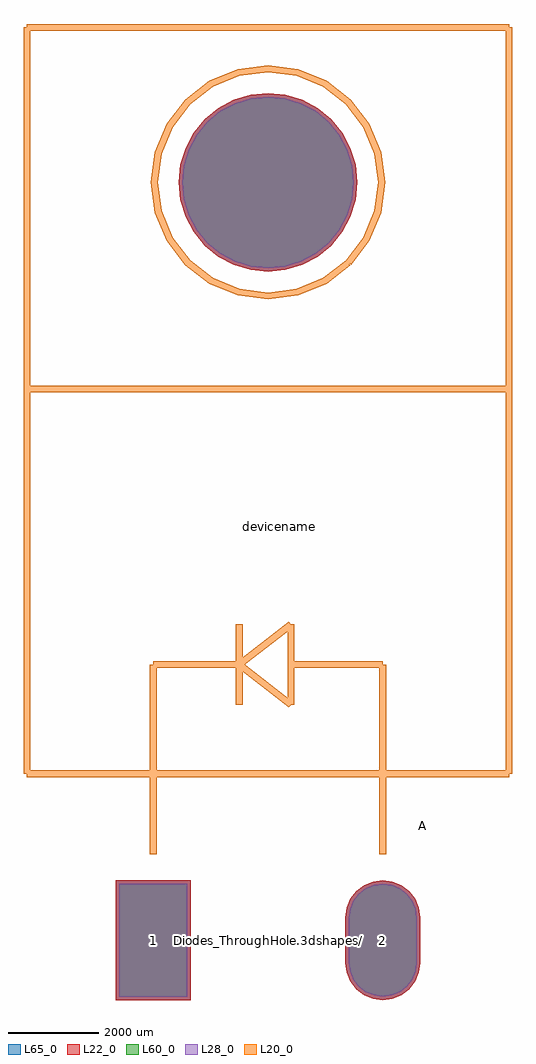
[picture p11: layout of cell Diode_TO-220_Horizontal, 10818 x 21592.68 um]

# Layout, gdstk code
import gdstk
lib = gdstk.Library(unit=1e-6, precision=1e-09)
def R(c, l, rs):  # rectangles x0, y0, x1, y1
    for r in rs: c.add(gdstk.rectangle(r[:2], r[2:], *l))
def P(c, l, *ps):  # polygons
    for p in ps: c.add(gdstk.Polygon(p, *l))
L20_0 = (20, 0)
L22_0 = (22, 0)
L28_0 = (28, 0)
L60_0 = (60, 0)
L65_0 = (65, 0)

diode_to_220_horizontal = lib.new_cell('Diode_TO-220_Horizontal')
R(diode_to_220_horizontal, L22_0, [(-828.11,-1324.68,823.03,1324.68)])
P(diode_to_220_horizontal, L22_0, [(4512.38,16764),(4474.432,17149.288),(4362.048,17519.769),(4179.546,17861.207),(3933.939,18160.479),(3634.667,18406.086),(3293.229,18588.588),(2922.748,18700.972),(2537.46,18738.92),(2152.172,18700.972),(1781.691,18588.588),(1440.253,18406.086),(1140.981,18160.479),(895.374,17861.207),(712.872,17519.769),(600.488,17149.288),(562.54,16764),(600.488,16378.712),(712.872,16008.231),(895.374,15666.793),(1140.981,15367.521),(1440.253,15121.914),(1781.691,14939.412),(2152.172,14827.028),(2537.46,14789.08),(2922.748,14827.028),(3293.229,14939.412),(3634.667,15121.914),(3933.939,15367.521),(4179.546,15666.793),(4362.048,16008.231),(4474.432,16378.712)],
  [(5077.46,-1324.68),(5291.133,-1296.549),(5490.245,-1214.075),(5661.226,-1082.876),(5792.425,-911.895),(5874.899,-712.783),(5903.03,-499.11),(5903.03,499.11),(5874.899,712.783),(5792.425,911.895),(5661.226,1082.876),(5490.245,1214.075),(5291.133,1296.549),(5077.46,1324.68),(4863.787,1296.549),(4664.675,1214.075),(4493.694,1082.876),(4362.495,911.895),(4280.021,712.783),(4251.89,499.11),(4251.89,-499.11),(4280.021,-712.783),(4362.495,-911.895),(4493.694,-1082.876),(4664.675,-1214.075),(4863.787,-1296.549)])
R(diode_to_220_horizontal, L28_0, [(-753.11,-1249.68,748.03,1249.68)])
P(diode_to_220_horizontal, L28_0, [(4437.38,16764),(4400.874,17134.656),(4292.757,17491.068),(4117.186,17819.539),(3880.906,18107.446),(3592.999,18343.726),(3264.528,18519.297),(2908.116,18627.414),(2537.46,18663.92),(2166.804,18627.414),(1810.392,18519.297),(1481.921,18343.726),(1194.014,18107.446),(957.734,17819.539),(782.163,17491.068),(674.046,17134.656),(637.54,16764),(674.046,16393.344),(782.163,16036.932),(957.734,15708.461),(1194.014,15420.554),(1481.921,15184.274),(1810.392,15008.703),(2166.804,14900.586),(2537.46,14864.08),(2908.116,14900.586),(3264.528,15008.703),(3592.999,15184.274),(3880.906,15420.554),(4117.186,15708.461),(4292.757,16036.932),(4400.874,16393.344)],
  [(5077.46,-1249.68),(5271.722,-1224.105),(5452.745,-1149.123),(5608.193,-1029.843),(5727.473,-874.395),(5802.455,-693.372),(5828.03,-499.11),(5828.03,499.11),(5802.455,693.372),(5727.473,874.395),(5608.193,1029.843),(5452.745,1149.123),(5271.722,1224.105),(5077.46,1249.68),(4883.198,1224.105),(4702.175,1149.123),(4546.727,1029.843),(4427.447,874.395),(4352.465,693.372),(4326.89,499.11),(4326.89,-499.11),(4352.465,-693.372),(4427.447,-874.395),(4546.727,-1029.843),(4702.175,-1149.123),(4883.198,-1224.105)])
R(diode_to_220_horizontal, L60_0, [(-753.11,-1249.68,748.03,1249.68)])
P(diode_to_220_horizontal, L60_0, [(4437.38,16764),(4400.874,17134.656),(4292.757,17491.068),(4117.186,17819.539),(3880.906,18107.446),(3592.999,18343.726),(3264.528,18519.297),(2908.116,18627.414),(2537.46,18663.92),(2166.804,18627.414),(1810.392,18519.297),(1481.921,18343.726),(1194.014,18107.446),(957.734,17819.539),(782.163,17491.068),(674.046,17134.656),(637.54,16764),(674.046,16393.344),(782.163,16036.932),(957.734,15708.461),(1194.014,15420.554),(1481.921,15184.274),(1810.392,15008.703),(2166.804,14900.586),(2537.46,14864.08),(2908.116,14900.586),(3264.528,15008.703),(3592.999,15184.274),(3880.906,15420.554),(4117.186,15708.461),(4292.757,16036.932),(4400.874,16393.344)],
  [(5077.46,-1249.68),(5271.722,-1224.105),(5452.745,-1149.123),(5608.193,-1029.843),(5727.473,-874.395),(5802.455,-693.372),(5828.03,-499.11),(5828.03,499.11),(5802.455,693.372),(5727.473,874.395),(5608.193,1029.843),(5452.745,1149.123),(5271.722,1224.105),(5077.46,1249.68),(4883.198,1224.105),(4702.175,1149.123),(4546.727,1029.843),(4427.447,874.395),(4352.465,693.372),(4326.89,499.11),(4326.89,-499.11),(4352.465,-693.372),(4427.447,-874.395),(4546.727,-1029.843),(4702.175,-1149.123),(4883.198,-1224.105)])
R(diode_to_220_horizontal, L65_0, [(-828.11,-1324.68,823.03,1324.68)])
P(diode_to_220_horizontal, L65_0, [(4512.38,16764),(4474.432,17149.288),(4362.048,17519.769),(4179.546,17861.207),(3933.939,18160.479),(3634.667,18406.086),(3293.229,18588.588),(2922.748,18700.972),(2537.46,18738.92),(2152.172,18700.972),(1781.691,18588.588),(1440.253,18406.086),(1140.981,18160.479),(895.374,17861.207),(712.872,17519.769),(600.488,17149.288),(562.54,16764),(600.488,16378.712),(712.872,16008.231),(895.374,15666.793),(1140.981,15367.521),(1440.253,15121.914),(1781.691,14939.412),(2152.172,14827.028),(2537.46,14789.08),(2922.748,14827.028),(3293.229,14939.412),(3634.667,15121.914),(3933.939,15367.521),(4179.546,15666.793),(4362.048,16008.231),(4474.432,16378.712)],
  [(5077.46,-1324.68),(5291.133,-1296.549),(5490.245,-1214.075),(5661.226,-1082.876),(5792.425,-911.895),(5874.899,-712.783),(5903.03,-499.11),(5903.03,499.11),(5874.899,712.783),(5792.425,911.895),(5661.226,1082.876),(5490.245,1214.075),(5291.133,1296.549),(5077.46,1324.68),(4863.787,1296.549),(4664.675,1214.075),(4493.694,1082.876),(4362.495,911.895),(4280.021,712.783),(4251.89,499.11),(4251.89,-499.11),(4280.021,-712.783),(4362.495,-911.895),(4493.694,-1082.876),(4664.675,-1214.075),(4863.787,-1296.549)])
diode_to_220_horizontal.add(gdstk.FlexPath([(2537.46,3683),(7871.46,3683)], 149.998, ends="flush", simple_path=True, layer=20, datatype=0))  # L20_0
diode_to_220_horizontal.add(gdstk.FlexPath([(2537.46,3683),(-2796.54,3683)], 149.998, ends="flush", simple_path=True, layer=20, datatype=0))  # L20_0
diode_to_220_horizontal.add(gdstk.FlexPath([(-2796.54,12192),(-2796.54,3683)], 149.998, ends="flush", simple_path=True, layer=20, datatype=0))  # L20_0
diode_to_220_horizontal.add(gdstk.FlexPath([(7871.46,12192),(-2796.54,12192)], 149.998, ends="flush", simple_path=True, layer=20, datatype=0))  # L20_0
diode_to_220_horizontal.add(gdstk.FlexPath([(7871.46,3683),(7871.46,12192)], 149.998, ends="flush", simple_path=True, layer=20, datatype=0))  # L20_0
diode_to_220_horizontal.add(gdstk.FlexPath([(-2796.54,20193),(-2796.54,12192)], 149.998, ends="flush", simple_path=True, layer=20, datatype=0))  # L20_0
diode_to_220_horizontal.add(gdstk.FlexPath([(7871.46,20193),(-2796.54,20193)], 149.998, ends="flush", simple_path=True, layer=20, datatype=0))  # L20_0
diode_to_220_horizontal.add(gdstk.FlexPath([(7871.46,12192),(7871.46,20193)], 149.998, ends="flush", simple_path=True, layer=20, datatype=0))  # L20_0
diode_to_220_horizontal.add(gdstk.FlexPath([(5077.46,3683),(5077.46,1905)], 149.998, ends="flush", simple_path=True, layer=20, datatype=0))  # L20_0
diode_to_220_horizontal.add(gdstk.FlexPath([(-2.54,3683),(-2.54,1905)], 149.998, ends="flush", simple_path=True, layer=20, datatype=0))  # L20_0
diode_to_220_horizontal.add(gdstk.FlexPath([(4315.46,14986),(4715.056,15506.764),(4966.253,16113.207),(5051.932,16764),(4966.253,17414.793),(4715.056,18021.236),(4315.46,18542),(3794.696,18941.596),(3188.253,19192.793),(2537.46,19278.472),(1886.667,19192.793),(1280.224,18941.596),(759.46,18542),(359.864,18021.236),(108.667,17414.793),(22.988,16764),(108.667,16113.207),(359.864,15506.764),(759.46,14986),(1280.224,14586.404),(1886.667,14335.207),(2537.46,14249.528),(3188.253,14335.207),(3794.696,14586.404),(4315.46,14986)], 149.998, ends="flush", simple_path=True, layer=20, datatype=0))  # L20_0
diode_to_220_horizontal.add(gdstk.FlexPath([(1902.46,6985),(1902.46,5207)], 149.998, ends="flush", simple_path=True, layer=20, datatype=0))  # L20_0
diode_to_220_horizontal.add(gdstk.FlexPath([(3045.46,5207),(1902.46,6096)], 149.998, ends="flush", simple_path=True, layer=20, datatype=0))  # L20_0
diode_to_220_horizontal.add(gdstk.FlexPath([(3045.46,6985),(3045.46,5207)], 149.998, ends="flush", simple_path=True, layer=20, datatype=0))  # L20_0
diode_to_220_horizontal.add(gdstk.FlexPath([(1902.46,6096),(3045.46,6985)], 149.998, ends="flush", simple_path=True, layer=20, datatype=0))  # L20_0
diode_to_220_horizontal.add(gdstk.FlexPath([(5077.46,6096),(5077.46,3683)], 149.998, ends="flush", simple_path=True, layer=20, datatype=0))  # L20_0
diode_to_220_horizontal.add(gdstk.FlexPath([(3045.46,6096),(5077.46,6096)], 149.998, ends="flush", simple_path=True, layer=20, datatype=0))  # L20_0
diode_to_220_horizontal.add(gdstk.FlexPath([(-2.54,6096),(-2.54,3683)], 149.998, ends="flush", simple_path=True, layer=20, datatype=0))  # L20_0
diode_to_220_horizontal.add(gdstk.FlexPath([(1902.46,6096),(-2.54,6096)], 149.998, ends="flush", simple_path=True, layer=20, datatype=0))  # L20_0
diode_to_220_horizontal.add(gdstk.Label('Diodes_ThroughHole.3dshapes/Diode_TO-220_Horizontal.wrl', (2540,0), layer=12, texttype=0))
diode_to_220_horizontal.add(gdstk.Label('2', (5077.46,0), layer=28, texttype=0))
diode_to_220_horizontal.add(gdstk.Label('1', (-2.54,0), layer=28, texttype=0))
diode_to_220_horizontal.add(gdstk.Label('A', (5966.46,2540), layer=9, texttype=0))
diode_to_220_horizontal.add(gdstk.Label('type', (3150,-2150), layer=9, texttype=0))
diode_to_220_horizontal.add(gdstk.Label('devicename', (2791.46,9144), layer=9, texttype=0))

lib.write_gds('Diode_TO-220_Horizontal.gds')
